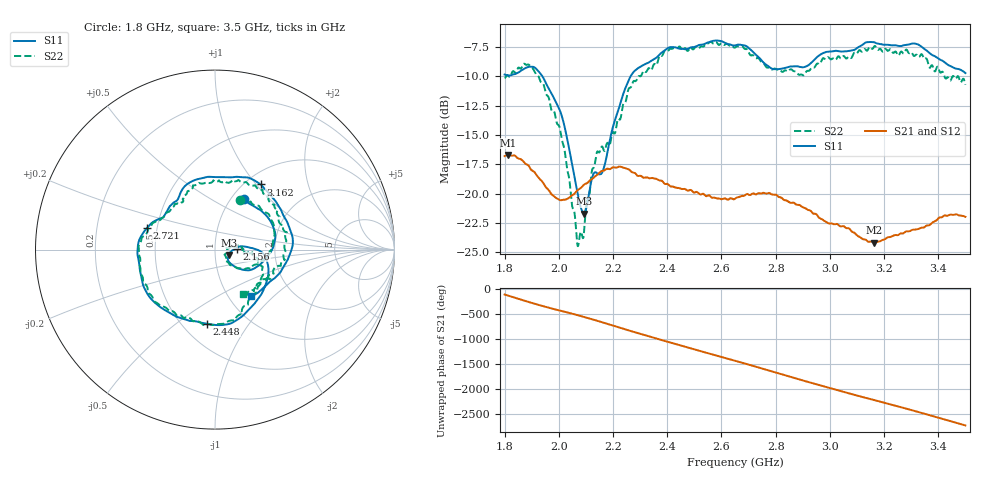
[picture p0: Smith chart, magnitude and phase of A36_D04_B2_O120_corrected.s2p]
! Created with skrf 1.9.0 (http://scikit-rf.org).
# Hz S RI R 50.0
!freq ReS11 ImS11 ReS21 ImS21 ReS12 ImS12 ReS22 ImS22
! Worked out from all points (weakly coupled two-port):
!   1601 points, 1.8 GHz to 3.5 GHz, reference 50 ohm
!   highest |S21| = -16.70 dB at 1.814 GHz (marker M1); lowest = -24.2 dB at 3.162 GHz (marker M2)
!   lowest |S11| = -21.7 dB at 2.092 GHz (marker M3), VSWR 1.18, Z = 58.1 - j3.59 ohm
!   |S11| at or under -10 dB: 1.94 GHz to 2.264 GHz (324.6 MHz wide, 15.4 % of centre)
!   |S22| runs from -24.5 to -7.0 dB; largest |S21 - S12| = 0.0023
!   S11 on the Smith chart (normalised r, x): 1.8 GHz: 1.14, +0.71; 2.156 GHz: 1.28, +0.01; 2.448 GHz: 0.66, -0.66; 2.721 GHz: 0.44, +0.13; 3.162 GHz: 1.17, +1.05; 3.5 GHz: 1.27, -0.73
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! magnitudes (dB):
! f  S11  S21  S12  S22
! 1.8 GHz  -9.8  -16.8  -16.8  -10.1
! 1.814 GHz  -9.9  -16.7  -16.7  -9.9
! 1.882 GHz  -9.2  -17.5  -17.5  -9.0
! 1.942 GHz  -10.1  -19.1  -19.1  -10.6
! 2.013 GHz  -13.5  -20.5  -20.5  -15.5
! 2.067 GHz  -19.6  -19.8  -19.8  -24.0
! 2.084 GHz  -21.4  -19.5  -19.4  -23.3
! 2.092 GHz  -21.7  -19.2  -19.3  -23.5
! 2.127 GHz  -18.3  -18.7  -18.6  -17.8
! 2.156 GHz  -18.3  -18.1  -18.1  -16.1
! 2.189 GHz  -15.4  -17.9  -17.9  -15.8
! 2.26 GHz  -10.2  -18.0  -18.0  -11.0
! 2.367 GHz  -8.2  -18.8  -18.8  -8.5
! 2.448 GHz  -7.6  -19.6  -19.6  -7.5
! 2.65 GHz  -7.3  -20.4  -20.4  -7.5
! 2.721 GHz  -8.0  -20.0  -19.9  -8.3
! 2.793 GHz  -9.4  -20.1  -20.1  -9.3
! 2.934 GHz  -8.8  -21.6  -21.6  -9.2
! 3.162 GHz  -7.1  -24.2  -24.1  -7.5
! 3.217 GHz  -7.3  -23.7  -23.7  -7.8
! 3.323 GHz  -7.2  -23.0  -23.0  -8.2
! 3.5 GHz  -9.7  -22.0  -21.9  -10.7
